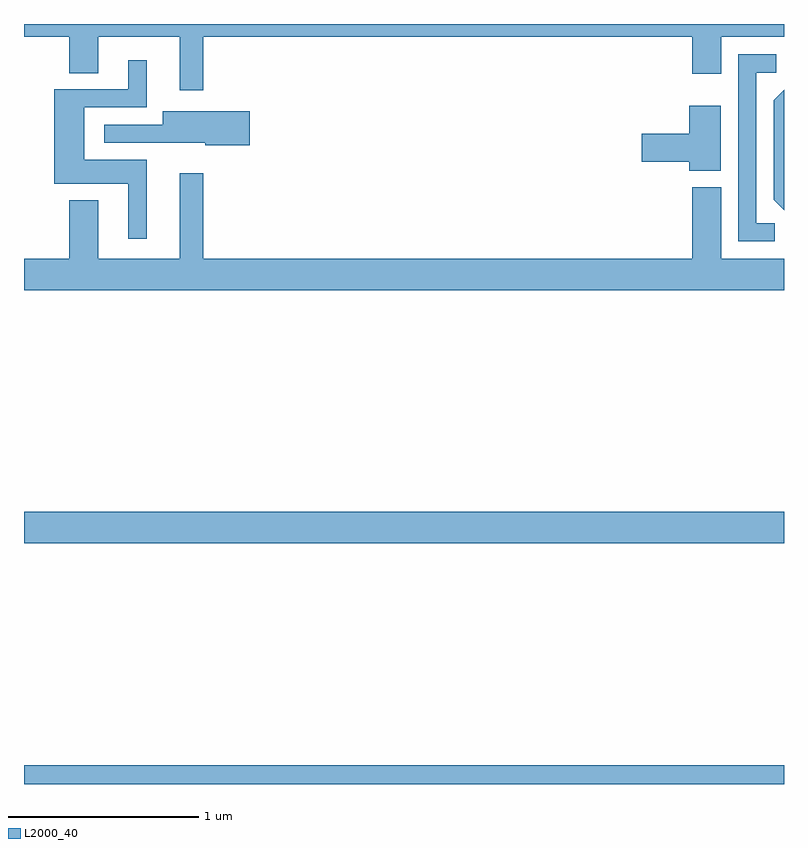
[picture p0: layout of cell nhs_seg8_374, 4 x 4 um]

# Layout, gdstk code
import gdstk
lib = gdstk.Library(unit=1e-6, precision=1e-09)
def R(c, l, rs):  # rectangles x0, y0, x1, y1
    for r in rs: c.add(gdstk.rectangle(r[:2], r[2:], *l))
def P(c, l, *ps):  # polygons
    for p in ps: c.add(gdstk.Polygon(p, *l))
L2000_40 = (2000, 40)

nhs_seg8_374 = lib.new_cell('nhs_seg8_374')
R(nhs_seg8_374, L2000_40, [(135,1113.9,139,1114), (135,1115.168,139,1115.332)])
P(nhs_seg8_374, L2000_40, [(135.943,1117.832),(138.518,1117.832),(138.518,1117.638),(138.67,1117.638),(138.67,1117.832),(139,1117.832),(139,1117.9),(135,1117.9),(135,1117.832),(135.239,1117.832),(135.239,1117.642),(135.391,1117.642),(135.391,1117.832),(135.821,1117.832),(135.821,1117.551),(135.943,1117.551)],
  [(138.951,1116.851),(138.855,1116.851),(138.855,1117.644),(138.958,1117.644),(138.958,1117.74),(138.759,1117.74),(138.759,1116.756),(138.951,1116.756)],
  [(135.646,1117.186),(135.316,1117.186),(135.316,1117.461),(135.646,1117.461),(135.646,1117.708),(135.548,1117.708),(135.548,1117.557),(135.158,1117.557),(135.158,1117.058),(135.548,1117.058),(135.548,1116.771),(135.646,1116.771)],
  [(139,1117.553),(138.945,1117.498),(138.945,1116.976),(139,1116.921)],
  [(138.667,1117.471),(138.5,1117.471),(138.5,1117.322),(138.252,1117.322),(138.252,1117.175),(138.5,1117.175),(138.5,1117.127),(138.667,1117.127)],
  [(136.189,1117.44),(135.731,1117.44),(135.731,1117.371),(135.423,1117.371),(135.423,1117.275),(135.735,1117.275),(135.735,1117.274),(135.954,1117.274),(135.954,1117.262),(136.189,1117.262)],
  [(139,1116.664),(138.67,1116.664),(138.67,1117.042),(138.518,1117.042),(138.518,1116.664),(135.943,1116.664),(135.943,1117.114),(135.821,1117.114),(135.821,1116.664),(135.391,1116.664),(135.391,1116.973),(135.239,1116.973),(135.239,1116.664),(135,1116.664),(135,1116.5),(139,1116.5)])

lib.write_gds('nhs_seg8_374.gds')
